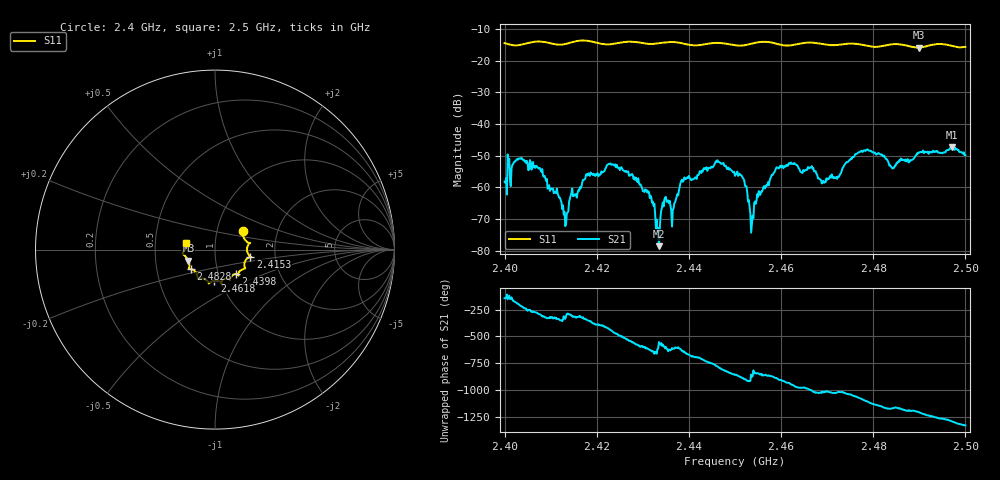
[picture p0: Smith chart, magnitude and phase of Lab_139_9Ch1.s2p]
# Hz S RI R 50
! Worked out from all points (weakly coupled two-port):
!   601 points, 2.4 GHz to 2.5 GHz, reference 50 ohm
!   highest |S21| = -47.41 dB at 2.497 GHz (marker M1); lowest = -78.6 dB at 2.4335 GHz (marker M2)
!   lowest |S11| = -15.9 dB at 2.4898 GHz (marker M3), VSWR 1.38, Z = 36.9 - j4.65 ohm
!   |S11| at or under -10 dB: start of sweep to end of sweep
!   S12 and S22 are empty: the file has one direction only
!   S11 on the Smith chart (normalised r, x): 2.4 GHz: 1.33, +0.29; 2.4153 GHz: 1.48, -0.12; 2.4398 GHz: 1.21, -0.34; 2.4618 GHz: 0.94, -0.33; 2.4828 GHz: 0.74, -0.17; 2.5 GHz: 0.72, +0.06
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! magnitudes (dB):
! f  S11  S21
! 2.4 GHz  -14.5  -58.3
! 2.4037 GHz  -15.0  -50.7
! 2.4133 GHz  -14.7  -71.5
! 2.4153 GHz  -14.0  -62.3
! 2.4167 GHz  -13.7  -59.7
! 2.4258 GHz  -14.2  -54.7
! 2.4313 GHz  -14.8  -61.5
! 2.4333 GHz  -14.6  -72.9
! 2.4335 GHz  -14.5  -78.6
! 2.4345 GHz  -14.3  -66.1
! 2.4365 GHz  -14.2  -67.2
! 2.4398 GHz  -15.0  -57.1
! 2.45 GHz  -15.2  -56.4
! 2.452 GHz  -15.2  -57.8
! 2.4537 GHz  -14.6  -71.7
! 2.4618 GHz  -15.2  -52.4
! 2.4667 GHz  -14.4  -53.3
! 2.4828 GHz  -15.2  -51.0
! 2.4833 GHz  -15.0  -52.2
! 2.4898 GHz  -15.9  -49.0
! 2.497 GHz  -15.4  -47.4
! 2.5 GHz  -15.7  -49.8
